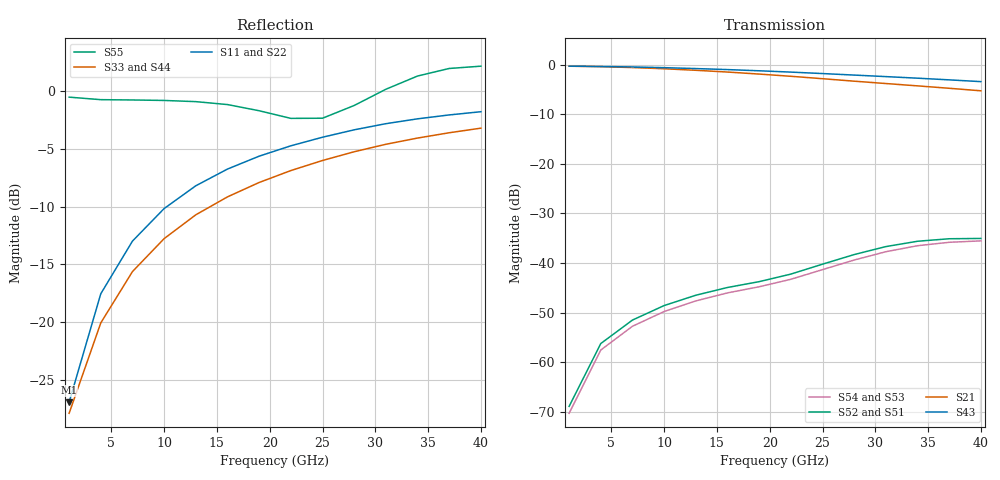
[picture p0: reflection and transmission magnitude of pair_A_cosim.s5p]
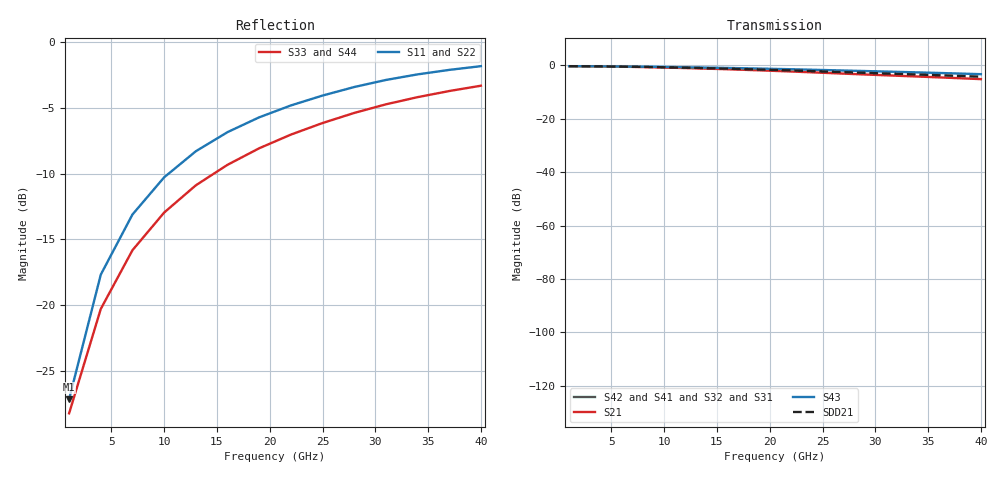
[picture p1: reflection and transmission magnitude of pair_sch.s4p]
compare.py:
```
#!/usr/bin/env python3
"""compare.py [display]: L, Q and coupling of the two coils in each run, from the Touchstone files in results/.

  B  results/pair_B.s5p        pair_B: both coils in the EM, with the plane and the feeds
  A  results/pair_A_cosim.s5p  pair_A: both coils cut, each coil's own 2-port back (the run of pair_A_cosim.cnl)
  S  results/pair_sch.s4p      the PAIR schematic: the two coils' own 2-ports and nothing else (k = 0 by construction)

Ports 1, 2 = L1's feeds (LA, LB), 3, 4 = L2's (LA, LB), 5 = the plane's tie. The tie is shorted, and so are ports
2 and 4: what is left is the 2-port (1, 3) that sees one end of each coil, the other end on the reference.
  L = Im(Z11)/w, Q = Im(Z11)/Re(Z11) (L2 from Z22),  k = Im(Z12)/sqrt(Im(Z11) Im(Z22)),
  |S31| from the 4-port with only the tie shorted, the other ports in 50 Ohm; that 4-port is written to
  results/pair_{B,A}_tie.s4p. `display` (inside the image) draws coupling.cdd and pictures/coupling.png from them.
"""
import os, sys
sys.path.insert(0, os.path.join(os.path.dirname(os.path.abspath(__file__)), '..', 'blackbox_common'))
import numpy as np
from blackbox import touchstone, y_of, s_of, keep, row, write_s, display

AT = [1, 4, 10, 16, 22, 28, 34, 40]
print('%-28s' % 'GHz' + ''.join('%9g' % g for g in AT))
for tag, path in (('B', 'results/pair_B.s5p'), ('A', 'results/pair_A_cosim.s5p'), ('S', 'results/pair_sch.s4p')):
    if not os.path.exists(path):
        print(f'{tag}: {path} not there yet')
        continue
    f, s, z0 = touchstone(path)
    y = y_of(s, z0)
    z = np.linalg.inv(keep(y, [1, 3]))
    w = 2e9 * np.pi * f
    s4 = s_of(keep(y, [1, 2, 3, 4]), z0)
    row(f'{tag}  L1 pH', f, z[:, 0, 0].imag / w * 1e12, '%.0f', AT)
    row(f'{tag}  Q1', f, z[:, 0, 0].imag / z[:, 0, 0].real, '%.1f', AT)
    row(f'{tag}  L2 pH', f, z[:, 1, 1].imag / w * 1e12, '%.0f', AT)
    row(f'{tag}  Q2', f, z[:, 1, 1].imag / z[:, 1, 1].real, '%.1f', AT)
    row(f'{tag}  k', f, z[:, 0, 1].imag / np.sqrt(z[:, 0, 0].imag * z[:, 1, 1].imag), '%.1e', AT)
    row(f'{tag}  |S31| dB (L1.LA to L2.LA)', f, 20 * np.log10(abs(s4[:, 2, 0]) + 1e-30), '%.1f', AT)
    if tag != 'S':
        write_s(f'results/pair_{tag}_tie.s4p', f, s4, z0, f'compare.py: {path} with port 5 (the tie) shorted')
if 'display' in sys.argv:
    display('coupling', [('B', 'results/pair_B_tie.s4p'), ('A', 'results/pair_A_tie.s4p')], [(3, 1), (4, 2), (2, 1)])
    print('wrote coupling.cdd, pictures/coupling.png')
```
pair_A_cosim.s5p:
# GHz S RI R 50
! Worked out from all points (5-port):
!   14 points, 1 GHz to 40 GHz, reference 50 ohm
!   strongest paths, dB at 1 GHz, 10 GHz, 22 GHz, 31 GHz, 40 GHz:
!     S43: -0.3, -0.6, -1.5, -2.4, -3.4
!     S21: -0.3, -0.8, -2.3, -3.8, -5.3
!     S52: -68.9, -48.6, -42.2, -36.7, -35.0
!     S51: -68.9, -48.6, -42.3, -36.7, -35.1
!     S54: -70.3, -49.8, -43.3, -37.7, -35.5
!     S53: -70.3, -49.8, -43.3, -37.8, -35.6
!   lowest |S11| = -26.9 dB at 1 GHz (marker M1), VSWR 1.09, Z = 53.4 + j3.21 ohm
!   |S11| at or under -10 dB: start of sweep to 10.26 GHz
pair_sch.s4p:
# GHz S RI R 50
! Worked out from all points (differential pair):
!   14 points, 1 GHz to 40 GHz, reference 50 ohm
!   strongest paths, dB at 1 GHz, 10 GHz, 22 GHz, 31 GHz, 40 GHz:
!     S43: -0.3, -0.6, -1.4, -2.3, -3.3
!     S21: -0.3, -0.8, -2.3, -3.7, -5.1
!     S42: -, -, -, -, -
!     S41: -, -, -, -, -
!     S32: -, -, -, -, -
!     S31: -, -, -, -, -
!   taken as a pair (ports 3,1 in; 4,2 out), SDD21 dB: -0.3, -0.7, -1.9, -3.0, -4.2
!   lowest |S11| = -27.1 dB at 1 GHz (marker M1), VSWR 1.09, Z = 53.3 + j3.17 ohm
!   |S11| at or under -10 dB: start of sweep to 10.43 GHz
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1  0.0325 0.0297  0.9649 -0.0382  0 0  0 0
   0.9649 -0.0382  0.0325 0.0298  0 0  0 0
   0 0  0 0  0.0324 0.0215  0.9663 -0.027
   0 0  0 0  0.9663 -0.027  0.0324 0.0216
13  0.2029 0.3264  0.7868 -0.395  0 0  0 0
    0.7868 -0.395  0.2041 0.3262  0 0  0 0
    0 0  0 0  0.1288 0.2547  0.8656 -0.3013
    0 0  0 0  0.8656 -0.3013  0.1295 0.2547
40  0.7533 0.2946  0.2318 -0.5021  0 0  0 0
    0.2318 -0.5021  0.7574 0.2884  0 0  0 0
    0 0  0 0  0.5589 0.3905  0.4328 -0.5305
    0 0  0 0  0.4328 -0.5305  0.5625 0.3873
